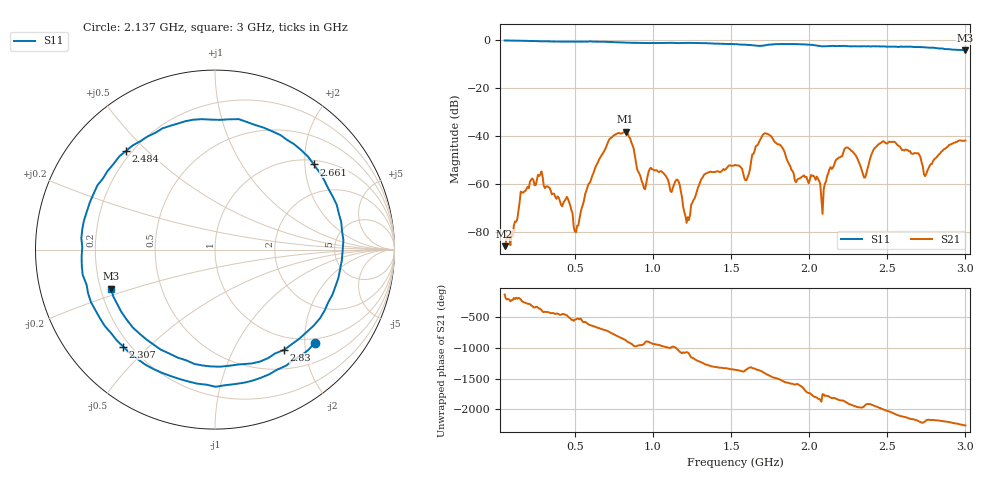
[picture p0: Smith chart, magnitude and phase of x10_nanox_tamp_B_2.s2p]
! nanovna_capture.py 2026-10-18T20:32:43+0900
! NanoVNA-F_V2 fw 0.6.0 SN 4A3639384505514B
! cal: load open short thru cal'ed  over 50000000-3000000000 Hz, 201 points
! points 401, avg 4
! S21: port1 = green ~10 mm H loop (flat, tape), port2 = GSM antenna; modified (implanted) Nano X at position B, placement 2
# HZ S RI R 50
! S12 and S22 are not measured (written as 0)
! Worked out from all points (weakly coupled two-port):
!   401 points, 50 MHz to 3 GHz, reference 50 ohm
!   highest |S21| = -38.06 dB at 824.4 MHz (marker M1); lowest = -85.8 dB at 50 MHz (marker M2)
!   lowest |S11| = -4.2 dB at 3 GHz (marker M3), VSWR 4.26, Z = 12.1 - j8.56 ohm
!   |S11| at or under -10 dB: nowhere
!   S12 and S22 are empty: the file has one direction only
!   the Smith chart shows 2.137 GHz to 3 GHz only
!   S11 on the Smith chart (normalised r, x): 2.137 GHz: 0.91, -2.23; 2.307 GHz: 0.17, -0.42; 2.484 GHz: 0.18, +0.43; 2.661 GHz: 1.10, +2.22; 2.83 GHz: 0.78, -1.62; 3 GHz: 0.24, -0.17
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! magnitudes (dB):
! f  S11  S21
! 50 MHz  -0.1  -85.8
! 278.6 MHz  -0.4  -55.9
! 507.2 MHz  -0.6  -79.9
! 544.1 MHz  -0.6  -69.8
! 713.8 MHz  -0.7  -42.2
! 824.4 MHz  -1.0  -38.1
! 935 MHz  -1.2  -59.8
! 1.038 GHz  -1.2  -54.9
! 1.223 GHz  -1.1  -73.7
! 1.326 GHz  -1.2  -56.1
! 1.525 GHz  -1.7  -51.9
! 1.599 GHz  -1.9  -58.3
! 1.724 GHz  -2.0  -38.9
! 2.019 GHz  -1.9  -56.5
! 2.086 GHz  -2.6  -72.4
! 2.137 GHz  -2.4  -52.9
! 2.307 GHz  -2.6  -49.0
! 2.484 GHz  -2.6  -42.6
! 2.513 GHz  -2.7  -42.3
! 2.661 GHz  -2.8  -47.4
! 2.83 GHz  -3.4  -47.6
! 3 GHz  -4.2  -41.8
